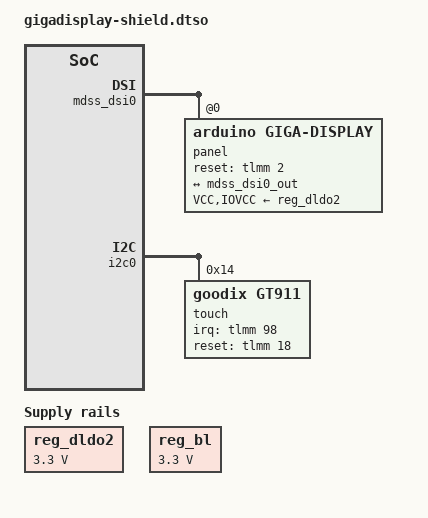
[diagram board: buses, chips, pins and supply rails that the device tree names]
// SPDX-License-Identifier: (GPL-2.0+ OR BSD-3-Clause)
/*
 * Arduino GIGA Display Shield (ASX00039) overlay para Arduino UNO Q.
 *
 * Activa el panel DSI ST7701 (480x800) del shield y añade el node gt911@14
 * para el chip touch GT911 cableado al qup0 GENI (i2c@4a80000).
 *
 * Targets kernel 7.0.0-g122c2c22d838+ (rama qcom-v7.0.0-unoq del repo
 * arduino/linux-qcom). Requiere el módulo panel-sitronix-st7701.ko CON el
 * descriptor `arduino,giga-display` backported desde 6.16.7 — Arduino
 * eliminó ese descriptor del driver en 7.0.0 (ver scripts/
 * enable-gigadisplay-shield.sh y docs/HANDOFF.md §12 para detalles).
 *
 * Aplicar con:
 *   dtc -I dts -O dtb -o gigadisplay-shield.dtbo gigadisplay-shield.dtso
 *   fdtoverlay -i base.dtb -o out.dtb gigadisplay-shield.dtbo
 *
 * GPIO flags (hardcoded para evitar dependencia de headers):
 *   GPIO_ACTIVE_HIGH = 0
 *   IRQ_TYPE_EDGE_FALLING = 2
 */

/dts-v1/;
/plugin/;

/ {
	reg_dldo2: reg-dldo2 {
		compatible = "regulator-fixed";
		regulator-name = "mipi_panel_reg";
		regulator-min-microvolt = <3300000>;
		regulator-max-microvolt = <3300000>;
		regulator-always-on;
	};

	reg_bl: reg-bl {
		compatible = "regulator-fixed";
		regulator-name = "mipi_panel_backlight";
		regulator-min-microvolt = <3300000>;
		regulator-max-microvolt = <3300000>;
		regulator-always-on;
	};
};

&mdss_dsi0 {
	vdda-supply = <&pm4125_l5>;
	status = "okay";

	#address-cells = <1>;
	#size-cells = <0>;

	panel@0 {
		compatible = "arduino,giga-display", "sitronix,st7701";
		reg = <0x0>;
		VCC-supply = <&reg_dldo2>;
		IOVCC-supply = <&reg_dldo2>;
		reset-gpios = <&tlmm 2 0>;	/* GPIO_ACTIVE_HIGH */
		dsi-lanes = <2>;
		video-mode = <2>;	/* non-burst con sync pulse */
		status = "okay";

		port {
			panel0_in: endpoint {
				remote-endpoint = <&mdss_dsi0_out>;
			};
		};
	};
};

&mdss_dsi0_out {
	remote-endpoint = <&panel0_in>;
	data-lanes = <0 1>;
};

&i2c0 {
	#address-cells = <1>;
	#size-cells = <0>;
	status = "okay";

	touch@14 {
		compatible = "goodix,gt911";
		reg = <0x14>;
		interrupts-extended = <&tlmm 98 2>;	/* IRQ_TYPE_EDGE_FALLING */
		irq-gpios = <&tlmm 98 0>;		/* GPIO_ACTIVE_HIGH */
		reset-gpios = <&tlmm 18 0>;		/* GPIO_ACTIVE_HIGH */
	};
};
